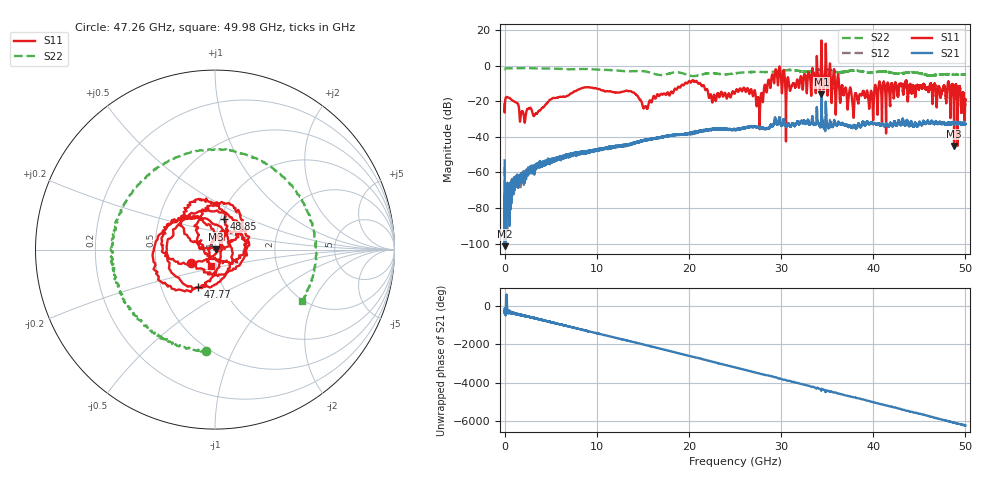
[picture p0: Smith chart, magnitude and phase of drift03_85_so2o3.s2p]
!Created with skrf (http://scikit-rf.org).
# Hz S RI R 50.0
!freq ReS11 ImS11 ReS21 ImS21 ReS12 ImS12 ReS22 ImS22
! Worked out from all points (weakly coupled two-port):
!   10001 points, 300 kHz to 50 GHz, reference 50 ohm
!   highest |S21| = -15.98 dB at 34.37 GHz (marker M1); lowest = -101.4 dB at 15.3 MHz (marker M2)
!   lowest |S11| = -45.2 dB at 48.78 GHz (marker M3), VSWR 1.01, Z = 50.5 + j0.198 ohm
!   |S11| at or under -10 dB: start of sweep to 19.55 GHz; 21.25 GHz to 28.55 GHz (7.298 GHz wide, 29.3 % of centre); 36.28 GHz to 40.61 GHz (4.331 GHz wide, 11.3 % of centre) (the widest 3 of 40)
!   |S22| runs from -5.9 to -1.3 dB; largest |S21 - S12| = 0.033
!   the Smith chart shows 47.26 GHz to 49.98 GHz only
!   S11 on the Smith chart (normalised r, x): 47.26 GHz: 0.76, -0.11; 47.77 GHz: 0.76, -0.34; 48.85 GHz: 1.04, +0.37; 49.98 GHz: 0.94, -0.17
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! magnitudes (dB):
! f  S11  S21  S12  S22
! 300 kHz  -21.6  -53.2  -57.1  -2.1
! 15.3 MHz  -24.9  -101.4  -87.2  -2.0
! 265.3 MHz  -17.6  -68.2  -76.6  -1.4
! 3.3 GHz  -27.2  -56.3  -57.0  -1.5
! 8.335 GHz  -12.6  -48.8  -49.2  -1.9
! 15.29 GHz  -22.8  -41.9  -41.7  -3.3
! 16.67 GHz  -16.6  -40.4  -40.4  -5.1
! 20.26 GHz  -9.1  -37.9  -37.7  -5.8
! 25 GHz  -15.3  -35.9  -35.8  -4.3
! 27.52 GHz  -17.8  -34.5  -34.5  -3.5
! 29.28 GHz  -8.2  -31.0  -30.5  -3.3
! 30.73 GHz  -6.5  -32.6  -32.5  -2.5
! 33.34 GHz  -7.4  -31.2  -31.2  -2.9
! 34.37 GHz  14.2  -16.0  -17.7  -2.2
! 37.87 GHz  -29.3  -33.8  -34.2  -2.8
! 41.67 GHz  -11.3  -34.2  -34.0  -3.7
! 47.26 GHz  -16.5  -31.9  -31.8  -4.9
! 47.77 GHz  -12.8  -32.6  -32.4  -4.8
! 48.78 GHz  -45.2  -32.1  -32.2  -5.1
! 48.85 GHz  -15.0  -32.6  -32.5  -5.1
! 49.98 GHz  -20.7  -32.7  -32.9  -5.0
! 50 GHz  -19.1  -32.6  -32.6  -5.0
